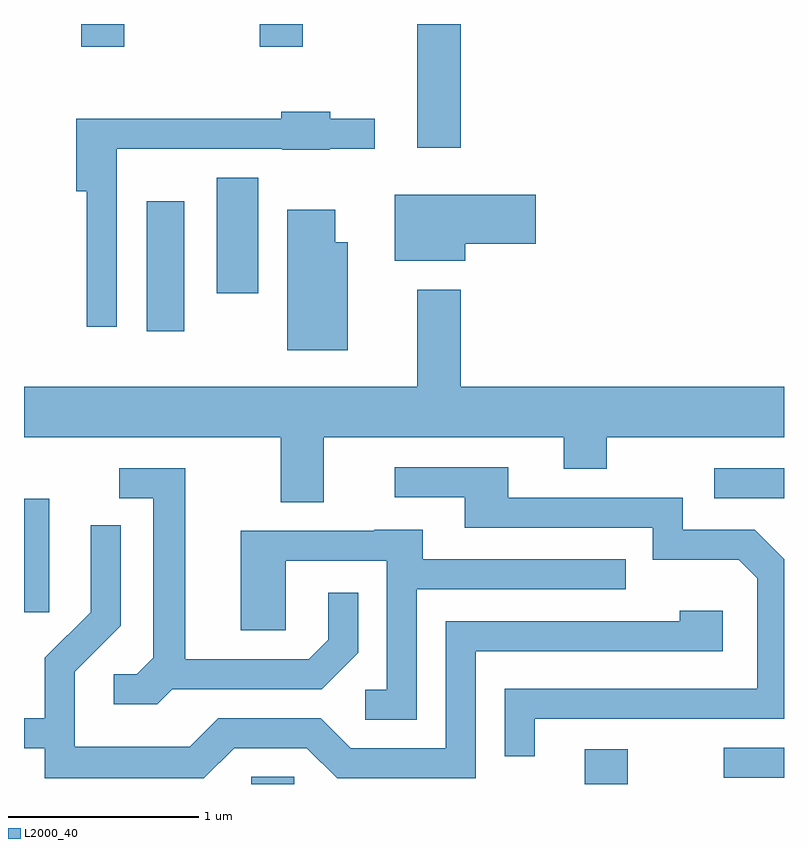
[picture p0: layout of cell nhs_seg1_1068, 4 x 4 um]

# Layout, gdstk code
import gdstk
lib = gdstk.Library(unit=1e-6, precision=1e-09)
def R(c, l, rs):  # rectangles x0, y0, x1, y1
    for r in rs: c.add(gdstk.rectangle(r[:2], r[2:], *l))
def P(c, l, *ps):  # polygons
    for p in ps: c.add(gdstk.Polygon(p, *l))
L2000_40 = (2000, 40)

nhs_seg1_1068 = lib.new_cell('nhs_seg1_1068')
R(nhs_seg1_1068, L2000_40, [(218.806,937.712,219.034,937.749), (220.561,937.712,220.789,937.894), (221.293,937.746,221.611,937.904), (217.611,938.616,217.744,939.214), (221.243,939.216,221.611,939.374), (218.256,940.096,218.454,940.779), (218.626,940.296,218.844,940.904), (219.681,941.061,219.909,941.712), (217.911,941.591,218.139,941.712), (218.851,941.591,219.079,941.712)])
P(nhs_seg1_1068, L2000_40, [(218.099,941.056),(218.97,941.056),(218.97,941.051),(219.22,941.051),(219.22,941.056),(219.458,941.056),(219.458,941.214),(219.224,941.214),(219.224,941.249),(218.966,941.249),(218.966,941.214),(217.886,941.214),(217.886,940.831),(217.941,940.831),(217.941,940.118),(218.099,940.118)],
  [(219.934,940.556),(220.304,940.556),(220.304,940.814),(219.561,940.814),(219.561,940.466),(219.934,940.466)],
  [(219.314,940.564),(219.249,940.564),(219.249,940.734),(218.996,940.734),(218.996,939.996),(219.314,939.996)],
  [(219.189,939.536),(220.451,939.536),(220.451,939.371),(220.679,939.371),(220.679,939.536),(221.611,939.536),(221.611,939.804),(219.909,939.804),(219.909,940.314),(219.681,940.314),(219.681,939.804),(217.611,939.804),(217.611,939.536),(218.961,939.536),(218.961,939.196),(219.189,939.196)],
  [(220.299,938.056),(221.611,938.056),(221.611,938.895),(221.457,939.049),(221.079,939.049),(221.079,939.219),(220.159,939.219),(220.159,939.379),(219.563,939.379),(219.563,939.221),(219.931,939.221),(219.931,939.061),(220.921,939.061),(220.921,938.891),(221.374,938.891),(221.471,938.794),(221.471,938.214),(220.141,938.214),(220.141,937.858),(220.299,937.858)],
  [(218.392,938.211),(219.177,938.211),(219.369,938.404),(219.369,938.718),(219.211,938.718),(219.211,938.472),(219.109,938.369),(218.459,938.369),(218.459,939.374),(218.113,939.374),(218.113,939.216),(218.291,939.216),(218.291,938.377),(218.204,938.289),(218.083,938.289),(218.083,938.131),(218.312,938.131)],
  [(218.717,937.901),(219.099,937.901),(219.259,937.741),(219.989,937.741),(219.989,938.411),(221.289,938.411),(221.289,938.624),(221.061,938.624),(221.061,938.569),(219.831,938.569),(219.831,937.899),(219.332,937.899),(219.172,938.059),(218.634,938.059),(218.484,937.909),(217.879,937.909),(217.879,938.304),(218.119,938.544),(218.119,939.073),(217.961,939.073),(217.961,938.617),(217.721,938.377),(217.721,938.059),(217.611,938.059),(217.611,937.901),(217.721,937.901),(217.721,937.741),(218.557,937.741)],
  [(219.679,938.736),(220.778,938.736),(220.778,938.894),(219.709,938.894),(219.709,939.049),(219.455,939.049),(219.455,939.044),(218.751,939.044),(218.751,938.521),(218.989,938.521),(218.989,938.886),(219.521,938.886),(219.521,938.209),(219.408,938.209),(219.408,938.051),(219.679,938.051)])

lib.write_gds('nhs_seg1_1068.gds')
